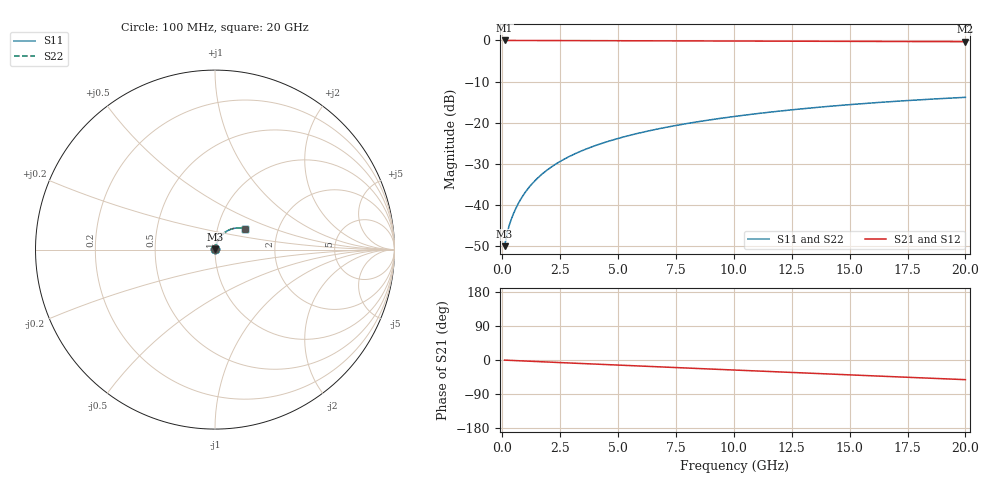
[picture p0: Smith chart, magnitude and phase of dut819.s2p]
! Touchstone file exported from HFSS 2026.1.0
!  File:  C:/ffzhzh/LocalFiles/Ansys_Project_Files/temp_train_TMRDL_819_1783156431_51560.aedt
!  Generated:  05:15:10 PM Jul  4, 2026
!  Design:  TMRDL
!  Project:  temp_train_TMRDL_819_1783156431_51560
! Variables:
!  h_bsmrdl = 2um
!  h_ox = 20um
!  h_rdl = 5um
!  h_sub = 80um
!  h_tmrdl = 4.85um
!  h_tsv = 80um
!  h_via = 3um
!  l_bsmrdl = 300um
!  l_sub = 1293.61um
!  l_tmrdl = 893.61um
!  m_sub = 200um
!  pitch = 40.79um
!  r_tsv = 6um
!  s_tmrdl = 10um
!  w_bsmrdl = 18um
!  w_sub = 500um
!  w_tmrdl = 28.89um
!  x_tsv_center1 = 908.055um
!  x_tsv_center2 = 1226.055um
!  x_tsv_center3 = 2148.555um
!  x_tsv_center4 = 2466.555um
!  x_tsv_center5 = 3389.055um
!  x_tsv_center6 = 3707.055um
# GHz S MA R 50.000000
! Terminal data exported
! Port[1] = TM_RDL1_1_T1
! Port[2] = TM_RDL1_1_T2
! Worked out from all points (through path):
!   200 points, 100 MHz to 20 GHz, reference 50 ohm
!   highest |S21| = -0.02 dB at 100 MHz (marker M1); lowest = -0.3 dB at 20 GHz (marker M2)
!   group delay of S21, straight-line fit = 7.19 ps
!   lowest |S11| = -50.0 dB at 100 MHz (marker M3), VSWR 1.01, Z = 50.3 + j0.184 ohm
!   |S11| at or under -10 dB: start of sweep to end of sweep
!   |S22| runs from -50.0 to -13.8 dB; largest |S21 - S12| = 1.6e-14
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0.1  0.003179 35.1  0.9974 -0.3  0.9974 -0.3  0.003179 35.1
! Gamma 0 0 0 0
! Port Impedance 50 0 50 0
0.2  0.004469 48.1  0.997 -0.6  0.997 -0.6  0.004469 48.1
0.3  0.005689 54.8  0.9968 -0.9  0.9968 -0.9  0.005689 54.8
0.4  0.006882 59.6  0.9966 -1.1  0.9966 -1.1  0.006882 59.6
0.5  0.00809 63.1  0.9965 -1.4  0.9965 -1.4  0.00809 63.1
0.6  0.009323 65.8  0.9964 -1.7  0.9964 -1.7  0.009323 65.8
0.8  0.01185 69.6  0.9962 -2.2  0.9962 -2.2  0.01185 69.6
1  0.01444 71.8  0.9961 -2.7  0.9961 -2.7  0.01444 71.8
1.2  0.01705 73.2  0.9959 -3.3  0.9959 -3.3  0.01705 73.2
1.4  0.01967 74.0  0.9957 -3.8  0.9957 -3.8  0.01967 74.0
1.7  0.02361 74.6  0.9954 -4.6  0.9954 -4.6  0.02361 74.6
2.2  0.03011 74.7  0.9947 -6.0  0.9947 -6.0  0.03011 74.7
2.8  0.03779 74.0  0.9938 -7.6  0.9938 -7.6  0.03778 74.0
3.5  0.04652 72.8  0.9926 -9.5  0.9926 -9.5  0.04652 72.8
4.2  0.05503 71.3  0.9914 -11.3  0.9914 -11.3  0.05503 71.3
5  0.06451 69.6  0.9901 -13.4  0.9901 -13.4  0.06451 69.6
6.8  0.08501 65.5  0.9869 -18.2  0.9869 -18.2  0.085 65.5
8.3  0.1013 62.0  0.9843 -22.1  0.9843 -22.1  0.1013 62.0
10.1  0.1201 57.8  0.9812 -26.7  0.9812 -26.7  0.1201 57.8
13.4  0.1519 50.0  0.9752 -35.2  0.9752 -35.2  0.1518 50.0
16.7  0.1799 42.1  0.9693 -43.6  0.9693 -43.6  0.1798 42.1
20  0.2036 34.2  0.9637 -51.9  0.9637 -51.9  0.2035 34.2
